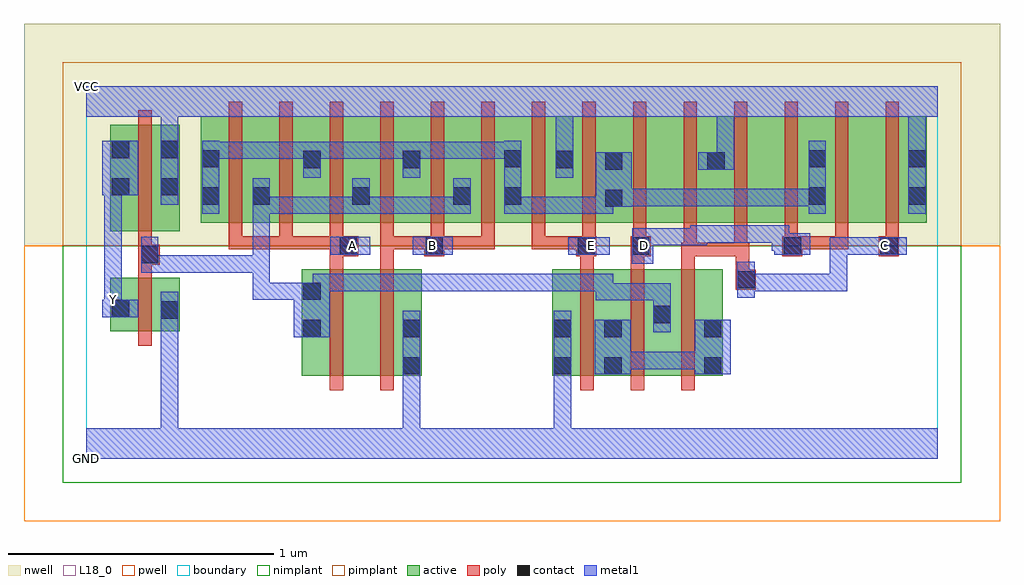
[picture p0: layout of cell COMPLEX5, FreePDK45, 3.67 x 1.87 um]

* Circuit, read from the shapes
.subckt COMPLEX5 A B C D E GND VCC Y
M1 GND n1 Y VSUBS nfet w=0.2u l=0.05u
M2 n2 A n1 VSUBS nfet w=0.4u l=0.05u
M3 GND B n2 VSUBS nfet w=0.4u l=0.05u
M4 n3 E GND VSUBS nfet w=0.4u l=0.05u
M5 n1 D n3 VSUBS nfet w=0.4u l=0.05u
M6 n3 C n1 VSUBS nfet w=0.4u l=0.05u
M7 VCC n1 Y n4 pfet w=0.4u l=0.05u
M8 n1 A n5 n4 pfet w=0.4u l=0.05u m=3
M9 n5 B n1 n4 pfet w=0.4u l=0.05u m=3
M10 VCC E n5 n4 pfet w=0.4u l=0.05u m=2
M11 n6 D n5 n4 pfet w=0.4u l=0.05u
M12 VCC C n6 n4 pfet w=0.4u l=0.05u
M13 n7 C VCC n4 pfet w=0.4u l=0.05u
M14 n5 D n7 n4 pfet w=0.4u l=0.05u
M15 n8 D n5 n4 pfet w=0.4u l=0.05u
M16 VCC C n8 n4 pfet w=0.4u l=0.05u
.ends

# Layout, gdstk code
import gdstk
lib = gdstk.Library(unit=1e-6, precision=1e-09)
def R(c, l, rs):  # rectangles x0, y0, x1, y1
    for r in rs: c.add(gdstk.rectangle(r[:2], r[2:], *l))
def A(c, l, x, y, w, h, nx, ny, dx, dy):  # array of equal rectangles
    R(c, l, [(x+i*dx, y+j*dy, x+i*dx+w, y+j*dy+h) for i in range(nx) for j in range(ny)])
active = (1, 0)
pwell = (2, 0)
nwell = (3, 0)
nimplant = (4, 0)
pimplant = (5, 0)
poly = (9, 0)
contact = (10, 0)
metal1 = (11, 0)
L18_0 = (18, 0)
boundary = (235, 0)

complex5 = lib.new_cell('COMPLEX5')
A(complex5, active, 0.995, 0.887, 0.265, 0.4, 3, 1, 0.19, 0)
A(complex5, active, 1.185, 0.907, 0.075, 0.293, 3, 1, 0.38, 0)
R(complex5, active, [(0.81,0.312,1.035,0.712), (1.035,0.312,1.26,0.712), (1.185,0.312,1.26,0.597), (1.752,0.312,1.827,0.712), (1.752,0.312,2.017,0.712), (1.942,0.312,2.202,0.712), (1.942,0.312,2.017,0.597), (2.127,0.312,2.392,0.712), (2.317,0.312,2.392,0.712), (2.127,0.33,2.202,0.58), (0.81,0.332,0.885,0.712), (0.09,0.48,0.165,0.68), (0.09,0.48,0.35,0.68), (0.275,0.48,0.35,0.68), (0.09,0.855,0.35,1.255), (0.09,0.855,0.165,1.2), (0.275,0.855,0.35,1.255), (0.43,0.887,0.695,1.287), (0.43,0.887,0.505,1.2), (0.62,0.887,0.885,1.287), (0.81,0.887,1.07,1.287), (1.565,0.887,1.835,1.287), (1.76,0.887,2.02,1.287), (1.945,0.887,2.175,1.287), (2.175,0.887,2.405,1.287), (2.33,0.887,2.555,1.287), (2.555,0.887,2.785,1.287), (2.71,0.887,2.935,1.287), (2.935,0.887,3.16,1.287), (3.085,0.887,3.16,1.255), (0.62,0.907,0.695,1.07), (0.81,0.907,0.885,1.2), (0.995,0.907,1.07,1.07), (1.375,0.907,1.45,1.07), (1.76,0.907,1.835,1.255), (2.33,0.907,2.405,1.255), (2.71,0.907,2.785,1.2)])
R(complex5, pwell, [(-0.235,-0.235,3.435,0.8)])
R(complex5, nwell, [(-0.235,0.8,3.435,1.635)])
R(complex5, nimplant, [(-0.09,-0.09,3.29,0.8)])
R(complex5, pimplant, [(-0.09,0.8,3.29,1.49)])
A(complex5, poly, 1.857, 0.257, 0.05, 0.51, 3, 1, 0.19, 0)
A(complex5, poly, 1.857, 0.717, 0.05, 0.095, 3, 1, 0.19, 0)
A(complex5, poly, 0.535, 0.787, 0.05, 0.095, 9, 1, 0.19, 0)
A(complex5, poly, 0.535, 0.787, 0.05, 0.05, 3, 1, 0.19, 0)
A(complex5, poly, 2.625, 0.787, 0.05, 0.095, 3, 1, 0.19, 0)
A(complex5, poly, 0.535, 0.832, 0.05, 0.51, 14, 1, 0.19, 0)
R(complex5, poly, [(0.915,0.257,0.965,0.767), (1.105,0.257,1.155,0.767), (0.195,0.425,0.245,0.735), (2.442,0.635,2.517,0.71), (2.442,0.66,2.492,0.71), (2.442,0.66,2.492,0.71), (2.442,0.66,2.492,0.812), (0.195,0.685,0.245,0.78), (0.915,0.717,0.965,0.812), (1.105,0.717,1.155,0.837), (0.195,0.73,0.275,0.805), (0.195,0.755,0.245,0.85), (0.915,0.762,1.022,0.837), (1.27,0.762,1.345,0.837), (1.842,0.762,1.917,0.837), (2.047,0.762,2.122,0.837), (2.237,0.762,2.295,0.812), (2.245,0.762,2.295,0.812), (2.245,0.762,2.295,0.812), (2.245,0.762,2.295,0.882), (2.245,0.762,2.485,0.812), (2.435,0.762,2.485,0.882), (2.435,0.762,2.492,0.812), (2.617,0.762,2.692,0.837), (2.98,0.762,3.055,0.837), (0.535,0.787,0.585,0.837), (0.535,0.787,0.585,0.837), (0.535,0.787,0.775,0.837), (0.725,0.787,0.965,0.837), (0.915,0.787,0.965,0.837), (1.105,0.787,1.155,0.837), (1.105,0.787,1.32,0.837), (1.27,0.787,1.32,0.837), (1.27,0.787,1.32,0.837), (1.295,0.787,1.535,0.837), (1.485,0.787,1.535,0.837), (1.485,0.787,1.535,0.837), (1.485,0.787,1.535,0.837), (1.675,0.787,1.725,0.837), (1.675,0.787,1.892,0.837), (1.842,0.787,1.892,0.837), (1.842,0.787,1.892,0.837), (2.642,0.787,2.865,0.837), (2.642,0.787,2.692,0.837), (2.642,0.787,2.692,0.837), (2.815,0.787,2.865,0.837), (0.195,0.8,0.245,1.31)])
R(complex5, contact, [(1.19,0.317,1.255,0.382), (1.757,0.317,1.822,0.382), (1.947,0.317,2.012,0.382), (2.322,0.317,2.387,0.382), (0.815,0.457,0.88,0.522), (1.19,0.457,1.255,0.522), (1.757,0.457,1.822,0.522), (1.947,0.457,2.012,0.522), (2.322,0.457,2.387,0.522), (2.132,0.51,2.197,0.575), (0.28,0.527,0.345,0.592), (0.095,0.532,0.16,0.597), (0.815,0.597,0.88,0.662), (2.447,0.64,2.512,0.705), (0.205,0.735,0.27,0.8), (0.952,0.767,1.017,0.832), (1.275,0.767,1.34,0.832), (1.847,0.767,1.912,0.832), (2.052,0.767,2.117,0.832), (2.622,0.767,2.687,0.832), (2.985,0.767,3.05,0.832), (1.95,0.947,2.015,1.012), (0.435,0.955,0.5,1.02), (0.625,0.955,0.69,1.02), (1,0.955,1.065,1.02), (1.38,0.955,1.445,1.02), (1.57,0.955,1.635,1.02), (2.715,0.955,2.78,1.02), (3.09,0.955,3.155,1.02), (0.095,0.99,0.16,1.055), (0.28,0.99,0.345,1.055), (1.95,1.087,2.015,1.152), (2.335,1.087,2.4,1.152), (0.815,1.092,0.88,1.157), (1.19,1.092,1.255,1.157), (1.765,1.092,1.83,1.157), (0.435,1.095,0.5,1.16), (1.57,1.095,1.635,1.16), (2.715,1.095,2.78,1.16), (3.09,1.095,3.155,1.16), (0.095,1.13,0.16,1.195), (0.28,1.13,0.345,1.195)])
R(complex5, metal1, [(0,0,3.2,0.115), (0.28,0.05,0.345,0.115), (0.28,0.05,0.345,0.115), (0.28,0.05,0.345,0.115), (0.28,0.05,0.345,0.115), (0.28,0.05,0.345,0.115), (0.28,0.05,0.345,0.115), (0.28,0.05,0.345,0.115), (0.28,0.05,0.345,0.115), (0.28,0.05,0.345,0.557), (1.19,0.05,1.255,0.115), (1.19,0.05,1.255,0.115), (1.19,0.05,1.255,0.115), (1.19,0.05,1.255,0.115), (1.19,0.05,1.255,0.347), (1.757,0.05,1.822,0.347), (1.19,0.282,1.255,0.557), (1.757,0.282,1.822,0.557), (1.757,0.282,1.822,0.347), (1.757,0.282,1.822,0.347), (1.757,0.282,1.822,0.347), (1.757,0.282,1.822,0.347), (1.912,0.317,2.047,0.522), (2.287,0.317,2.422,0.522), (1.982,0.337,2.117,0.402), (2.052,0.337,2.117,0.402), (2.052,0.337,2.187,0.402), (2.122,0.337,2.187,0.402), (2.122,0.337,2.335,0.402), (2.27,0.337,2.335,0.402), (2.27,0.337,2.352,0.402), (0.78,0.457,0.915,0.662), (2.132,0.475,2.197,0.61), (0.28,0.492,0.345,0.627), (0.06,0.532,0.195,0.597), (0.067,0.532,0.132,0.597), (0.067,0.532,0.132,0.667), (2.132,0.545,2.197,0.61), (2.132,0.545,2.197,0.66), (1.915,0.595,1.98,0.66), (1.915,0.595,1.98,0.66), (1.915,0.595,2.197,0.66), (1.915,0.595,1.98,0.695), (0.625,0.597,0.69,0.662), (0.625,0.597,0.69,0.662), (0.625,0.597,0.845,0.662), (0.625,0.597,0.69,0.765), (0.78,0.597,0.845,0.662), (0.78,0.597,0.845,0.662), (0.85,0.597,0.915,0.662), (0.85,0.597,0.915,0.695), (0.067,0.602,0.132,1.055), (2.447,0.605,2.512,0.74), (0.85,0.63,1.067,0.695), (1.002,0.63,1.067,0.695), (1.002,0.63,1.067,0.695), (1.002,0.63,1.067,0.695), (1.002,0.63,1.205,0.695), (1.14,0.63,1.205,0.695), (1.14,0.63,1.205,0.695), (1.14,0.63,1.205,0.695), (1.14,0.63,1.392,0.695), (1.327,0.63,1.392,0.695), (1.327,0.63,1.6,0.695), (1.535,0.63,1.6,0.695), (1.535,0.63,1.63,0.695), (1.565,0.63,1.63,0.695), (1.565,0.63,1.74,0.695), (1.675,0.63,1.74,0.695), (1.675,0.63,1.772,0.695), (1.707,0.63,1.772,0.695), (1.707,0.63,1.98,0.695), (2.447,0.63,2.512,0.695), (2.447,0.63,2.512,0.695), (2.447,0.63,2.512,0.695), (2.447,0.63,2.512,0.695), (2.447,0.63,2.65,0.695), (2.585,0.63,2.65,0.695), (2.585,0.63,2.86,0.695), (2.795,0.63,2.86,0.695), (2.795,0.63,2.86,0.832), (0.205,0.7,0.27,0.765), (0.205,0.7,0.27,0.765), (0.205,0.7,0.27,0.835), (0.205,0.7,0.482,0.765), (0.417,0.7,0.482,0.765), (0.417,0.7,0.482,0.765), (0.417,0.7,0.482,0.765), (0.417,0.7,0.69,0.765), (0.625,0.7,0.69,0.985), (2.052,0.732,2.132,0.867), (0.917,0.767,1.067,0.835), (1.227,0.767,1.377,0.835), (1.812,0.767,1.967,0.832), (2.587,0.767,2.722,0.847), (2.795,0.767,2.86,0.832), (2.795,0.767,2.86,0.832), (2.795,0.767,2.86,0.832), (2.795,0.767,2.997,0.832), (2.932,0.767,2.997,0.832), (2.932,0.767,2.997,0.832), (2.932,0.767,3.085,0.832), (2.577,0.782,2.652,0.847), (2.577,0.782,2.642,0.877), (2.067,0.802,2.197,0.867), (2.132,0.802,2.197,0.867), (2.132,0.802,2.335,0.867), (2.27,0.802,2.335,0.877), (2.27,0.812,2.335,0.877), (2.27,0.812,2.335,0.877), (2.27,0.812,2.512,0.877), (2.447,0.812,2.512,0.877), (2.447,0.812,2.642,0.877), (0.435,0.92,0.5,1.195), (0.625,0.92,0.69,0.985), (0.625,0.92,0.69,0.985), (0.625,0.92,0.827,0.985), (0.625,0.92,0.69,1.055), (0.762,0.92,0.827,0.985), (0.762,0.92,0.827,0.985), (0.762,0.92,0.827,0.985), (0.762,0.92,1.065,0.985), (1,0.92,1.065,0.985), (1,0.92,1.065,0.985), (1,0.92,1.065,1.055), (1,0.92,1.255,0.985), (1.19,0.92,1.255,0.985), (1.19,0.92,1.355,0.985), (1.29,0.92,1.355,0.985), (1.29,0.92,1.445,0.985), (1.38,0.92,1.445,1.055), (1.57,0.92,1.635,1.195), (1.57,0.92,1.635,0.985), (1.57,0.92,1.635,0.985), (1.57,0.92,1.74,0.985), (1.675,0.92,1.74,0.985), (1.675,0.92,1.772,0.985), (1.707,0.92,1.772,0.985), (1.707,0.92,1.98,0.985), (1.915,0.92,1.98,1.012), (2.715,0.92,2.78,1.195), (3.09,0.92,3.155,1.195), (1.915,0.947,1.98,1.012), (1.915,0.947,2.05,1.152), (1.985,0.95,2.117,1.015), (2.052,0.95,2.117,1.015), (2.052,0.95,2.197,1.015), (2.132,0.95,2.197,1.015), (2.132,0.95,2.335,1.015), (2.27,0.95,2.335,1.015), (2.27,0.95,2.335,1.015), (2.27,0.95,2.335,1.015), (2.27,0.95,2.472,1.015), (2.407,0.95,2.472,1.015), (2.407,0.95,2.472,1.015), (2.407,0.95,2.472,1.015), (2.407,0.95,2.65,1.015), (2.585,0.95,2.65,1.015), (2.585,0.95,2.78,1.015), (0.28,0.955,0.345,1.23), (0.06,0.99,0.195,1.195), (0.815,1.057,0.88,1.192), (1.19,1.057,1.255,1.192), (1.765,1.057,1.83,1.192), (2.3,1.087,2.435,1.152), (2.37,1.087,2.435,1.35), (0.435,1.127,0.5,1.192), (0.435,1.127,0.5,1.192), (0.435,1.127,0.69,1.192), (0.625,1.127,0.69,1.192), (0.625,1.127,0.69,1.192), (0.625,1.127,0.69,1.192), (0.625,1.127,0.88,1.192), (0.815,1.127,0.88,1.192), (0.815,1.127,0.88,1.192), (0.815,1.127,1.052,1.192), (0.987,1.127,1.052,1.192), (0.987,1.127,1.052,1.192), (0.987,1.127,1.052,1.192), (0.987,1.127,1.255,1.192), (1.19,1.127,1.255,1.192), (1.19,1.127,1.255,1.192), (1.19,1.127,1.492,1.192), (1.427,1.127,1.492,1.192), (1.427,1.127,1.492,1.192), (1.427,1.127,1.492,1.192), (1.427,1.127,1.635,1.192), (1.765,1.127,1.83,1.35), (3.09,1.13,3.155,1.35), (0.28,1.165,0.345,1.35), (0,1.285,3.2,1.4)])
R(complex5, L18_0, [(0,0,3.2,0.115), (0.28,0.05,0.345,0.115), (0.28,0.05,0.345,0.115), (0.28,0.05,0.345,0.115), (0.28,0.05,0.345,0.115), (0.28,0.05,0.345,0.115), (0.28,0.05,0.345,0.115), (0.28,0.05,0.345,0.115), (0.28,0.05,0.345,0.115), (0.28,0.05,0.345,0.557), (1.19,0.05,1.255,0.115), (1.19,0.05,1.255,0.115), (1.19,0.05,1.255,0.115), (1.19,0.05,1.255,0.115), (1.19,0.05,1.255,0.347), (1.757,0.05,1.822,0.347), (1.19,0.282,1.255,0.557), (1.757,0.282,1.822,0.347), (1.757,0.282,1.822,0.347), (1.757,0.282,1.822,0.347), (1.757,0.282,1.822,0.347), (1.757,0.282,1.822,0.557), (0.28,0.492,0.345,0.627), (0.06,0.532,0.195,0.597), (0.067,0.532,0.132,0.667), (0.067,0.532,0.132,0.597), (0.067,0.567,0.132,0.632), (0.067,0.602,0.132,1.055), (2.447,0.605,2.512,0.74), (2.447,0.63,2.512,0.695), (2.447,0.63,2.512,0.695), (2.447,0.63,2.512,0.695), (2.447,0.63,2.512,0.695), (2.447,0.63,2.65,0.695), (2.585,0.63,2.65,0.695), (2.585,0.63,2.86,0.695), (2.795,0.63,2.86,0.695), (2.795,0.63,2.86,0.832), (2.052,0.732,2.132,0.867), (0.917,0.767,1.067,0.835), (0.967,0.767,1.032,0.832), (1.227,0.767,1.377,0.835), (1.267,0.767,1.332,0.832), (1.812,0.767,1.967,0.832), (1.867,0.767,1.932,0.832), (2.067,0.767,2.132,0.832), (2.587,0.767,2.722,0.847), (2.795,0.767,2.86,0.832), (2.795,0.767,2.86,0.832), (2.795,0.767,2.86,0.832), (2.795,0.767,2.997,0.832), (2.932,0.767,2.997,0.832), (2.932,0.767,2.997,0.832), (2.932,0.767,3.085,0.832), (2.967,0.767,3.032,0.832), (2.577,0.782,2.642,0.877), (2.577,0.782,2.652,0.847), (2.067,0.802,2.197,0.867), (2.132,0.802,2.197,0.867), (2.132,0.802,2.335,0.867), (2.27,0.802,2.335,0.877), (2.27,0.812,2.335,0.877), (2.27,0.812,2.335,0.877), (2.27,0.812,2.512,0.877), (2.447,0.812,2.512,0.877), (2.447,0.812,2.642,0.877), (3.09,0.92,3.155,1.195), (0.28,0.955,0.345,1.23), (0.06,0.99,0.195,1.195), (1.765,1.057,1.83,1.192), (2.3,1.087,2.435,1.152), (2.37,1.087,2.435,1.35), (1.765,1.127,1.83,1.35), (3.09,1.13,3.155,1.35), (0.28,1.165,0.345,1.35), (0,1.285,3.2,1.4)])
R(complex5, boundary, [(0,0,3.2,1.4)])
complex5.add(gdstk.Label('A', (1,0.8), layer=11, texttype=0))
complex5.add(gdstk.Label('B', (1.3,0.8), layer=11, texttype=0))
complex5.add(gdstk.Label('C', (3,0.8), layer=11, texttype=0))
complex5.add(gdstk.Label('D', (2.1,0.8), layer=11, texttype=0))
complex5.add(gdstk.Label('E', (1.9,0.8), layer=11, texttype=0))
complex5.add(gdstk.Label('Y', (0.1,0.6), layer=11, texttype=0))
complex5.add(gdstk.Label('VCC', (0,1.4), layer=11, texttype=0))
complex5.add(gdstk.Label('GND', (0,0), layer=11, texttype=0))

lib.write_gds('COMPLEX5.gds')
